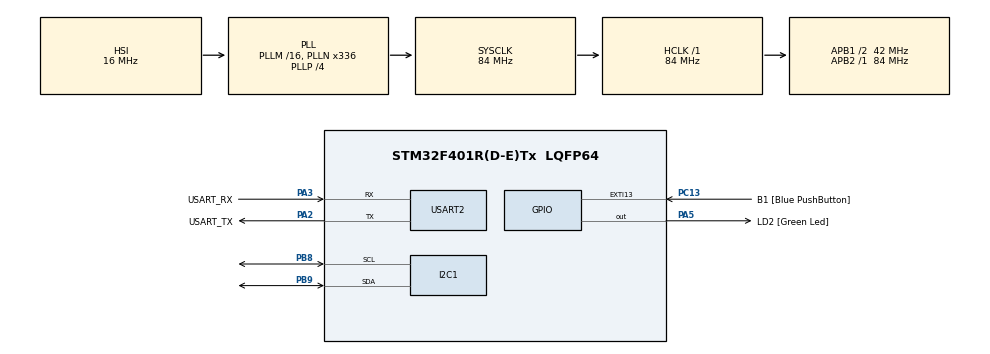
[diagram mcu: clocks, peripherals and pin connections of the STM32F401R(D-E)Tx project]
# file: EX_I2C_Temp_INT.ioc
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Mcu.Family=STM32F4
Mcu.Name=STM32F401R(D-E)Tx
Mcu.Package=LQFP64
NVIC.PriorityGroup=NVIC_PRIORITYGROUP_0
NVIC.TIM2_IRQn=true\:0\:0\:false\:false\:true\:true\:true
PA13.GPIO_Label=TMS
PA13.Mode=Serial_Wire
PA13.Signal=SYS_JTMS-SWDIO
PA14.GPIO_Label=TCK
PA14.Mode=Serial_Wire
PA14.Signal=SYS_JTCK-SWCLK
PA2.GPIO_Label=USART_TX
PA2.GPIO_Mode=GPIO_MODE_AF_PP
PA2.GPIO_PuPd=GPIO_NOPULL
PA2.GPIO_Speed=GPIO_SPEED_FREQ_LOW
PA2.Mode=Asynchronous
PA2.Signal=USART2_TX
PA3.GPIO_Label=USART_RX
PA3.GPIO_Mode=GPIO_MODE_AF_PP
PA3.GPIO_PuPd=GPIO_NOPULL
PA3.GPIO_Speed=GPIO_SPEED_FREQ_LOW
PA3.Mode=Asynchronous
PA3.Signal=USART2_RX
PA5.GPIO_Label=LD2 [Green Led]
PA5.GPIO_Mode=GPIO_MODE_OUTPUT_PP
PA5.GPIO_PuPd=GPIO_NOPULL
PA5.GPIO_Speed=GPIO_SPEED_FREQ_LOW
PA5.Signal=GPIO_Output
PB3.GPIO_Label=SWO
PB3.Signal=SYS_JTDO-SWO
PB8.Mode=I2C
PB8.Signal=I2C1_SCL
PB9.Mode=I2C
PB9.Signal=I2C1_SDA
PC13-ANTI_TAMP.GPIO_Label=B1 [Blue PushButton]
PC13-ANTI_TAMP.GPIO_ModeDefaultEXTI=GPIO_MODE_IT_FALLING
PC13-ANTI_TAMP.GPIO_PuPd=GPIO_NOPULL
PC13-ANTI_TAMP.Signal=GPXTI13
PC14-OSC32_IN.Mode=LSE-External-Oscillator
PC14-OSC32_IN.Signal=RCC_OSC32_IN
PC15-OSC32_OUT.Mode=LSE-External-Oscillator
PC15-OSC32_OUT.Signal=RCC_OSC32_OUT
PH0\ -\ OSC_IN.Mode=HSE-External-Clock-Source
PH0\ -\ OSC_IN.Signal=RCC_OSC_IN
PH1\ -\ OSC_OUT.Mode=HSE-External-Clock-Source
PH1\ -\ OSC_OUT.Signal=RCC_OSC_OUT
ProjectManager.HeapSize=0x200
ProjectManager.StackSize=0x400
ProjectManager.TargetToolchain=STM32CubeIDE
RCC.48MHZClocksFreq_Value=48000000
RCC.AHBFreq_Value=84000000
RCC.APB1CLKDivider=RCC_HCLK_DIV2
RCC.APB1Freq_Value=42000000
RCC.APB1TimFreq_Value=84000000
RCC.APB2Freq_Value=84000000
RCC.APB2TimFreq_Value=84000000
RCC.CortexFreq_Value=84000000
RCC.HCLKFreq_Value=84000000
RCC.HSE_VALUE=8000000
RCC.HSI_VALUE=16000000
RCC.PLLN=336
RCC.PLLP=RCC_PLLP_DIV4
RCC.PLLQ=7
RCC.SYSCLKFreq_VALUE=84000000
RCC.SYSCLKSource=RCC_SYSCLKSOURCE_PLLCLK
RCC.VCOOutputFreq_Value=336000000
TIM2.Period=10000-1
TIM2.Prescaler=8400-1
USART2.VirtualMode=VM_ASYNC
VP_TIM2_VS_ClockSourceINT.Mode=Internal
board=NUCLEO-F401RE

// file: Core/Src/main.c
/* USER CODE BEGIN Header */
/**
  ******************************************************************************
  * @file           : main.c
  * @brief          : Main program body
  ******************************************************************************
  * @attention
  *
  * Copyright (c) 2022 STMicroelectronics.
  * All rights reserved.
  *
  * This software is licensed under terms that can be found in the LICENSE file
  * in the root directory of this software component.
  * If no LICENSE file comes with this software, it is provided AS-IS.
  *
  ******************************************************************************
  */
/* USER CODE END Header */
#include "main.h"

I2C_HandleTypeDef hi2c1;

TIM_HandleTypeDef htim2;

UART_HandleTypeDef huart2;

void SystemClock_Config(void);
static void MX_GPIO_Init(void);
static void MX_USART2_UART_Init(void);
static void MX_I2C1_Init(void);
static void MX_TIM2_Init(void);

/* USER CODE BEGIN 0 */
#define TEMP_ADDRESS 00000000

#define LM_ADDRESS 0b10010000

void HAL_TIM_PeriodElapsedCallback(TIM_HandleTypeDef *htim)
{
	uint8_t reading[2];
	uint16_t final_value;
	float result;
	char string[64];
	if(htim == &htim2 )
	{
		//receive every tot second from the register
		if(HAL_I2C_Master_Receive(&hi2c1, LM_ADDRESS, &reading, 1, 10)==HAL_OK)
		{

			final_value = reading[0]; //sum the MSByte
			final_value = final_value << 8; //shift to the left of 8 bits
			final_value += reading[1]; //sum the LSByte, now all 16 bit correspond to the register
			final_value = final_value >> 5; //shift to the right to eliminate the padding

			//final_value = 0b11111111111; negative temperature check
			if(final_value < 2024)
				result = final_value * 0.125;
			else{
				final_value = !final_value;
				result = (final_value + 1)*(-0.125);
			}
			int length= snprintf(string,sizeof(string),"Temperature: %.3f °C\r\n", result);
			HAL_UART_Transmit(&huart2, string,length,200);
		}

	}
}
/* USER CODE END 0 */

int main(void)
{

  /* MCU Configuration--------------------------------------------------------*/

  /* Reset of all peripherals, Initializes the Flash interface and the Systick. */
  HAL_Init();

  /* Configure the system clock */
  SystemClock_Config();

  /* Initialize all configured peripherals */
  MX_GPIO_Init();
  MX_USART2_UART_Init();
  MX_I2C1_Init();
  MX_TIM2_Init();
  /* USER CODE BEGIN 2 */
  HAL_TIM_Base_Start_IT(&htim2);

  //Write (LSB = 0) the temp sensor, selecting the temp register
  HAL_I2C_Master_Transmit(&hi2c1, LM_ADDRESS, TEMP_ADDRESS, 1, 10);

  /* USER CODE END 2 */

  /* Infinite loop */
  while (1)
  {

  }
}

void SystemClock_Config(void)
{
  RCC_OscInitTypeDef RCC_OscInitStruct = {0};
  RCC_ClkInitTypeDef RCC_ClkInitStruct = {0};

  /** Configure the main internal regulator output voltage
  */
  __HAL_RCC_PWR_CLK_ENABLE();
  __HAL_PWR_VOLTAGESCALING_CONFIG(PWR_REGULATOR_VOLTAGE_SCALE2);
  /** Initializes the RCC Oscillators according to the specified parameters
  * in the RCC_OscInitTypeDef structure.
  */
  RCC_OscInitStruct.OscillatorType = RCC_OSCILLATORTYPE_HSI;
  RCC_OscInitStruct.HSIState = RCC_HSI_ON;
  RCC_OscInitStruct.HSICalibrationValue = RCC_HSICALIBRATION_DEFAULT;
  RCC_OscInitStruct.PLL.PLLState = RCC_PLL_ON;
  RCC_OscInitStruct.PLL.PLLSource = RCC_PLLSOURCE_HSI;
  RCC_OscInitStruct.PLL.PLLM = 16;
  RCC_OscInitStruct.PLL.PLLN = 336;
  RCC_OscInitStruct.PLL.PLLP = RCC_PLLP_DIV4;
  RCC_OscInitStruct.PLL.PLLQ = 7;
  if (HAL_RCC_OscConfig(&RCC_OscInitStruct) != HAL_OK)
  {
    Error_Handler();
  }
  /** Initializes the CPU, AHB and APB buses clocks
  */
  RCC_ClkInitStruct.ClockType = RCC_CLOCKTYPE_HCLK|RCC_CLOCKTYPE_SYSCLK
                              |RCC_CLOCKTYPE_PCLK1|RCC_CLOCKTYPE_PCLK2;
  RCC_ClkInitStruct.SYSCLKSource = RCC_SYSCLKSOURCE_PLLCLK;
  RCC_ClkInitStruct.AHBCLKDivider = RCC_SYSCLK_DIV1;
  RCC_ClkInitStruct.APB1CLKDivider = RCC_HCLK_DIV2;
  RCC_ClkInitStruct.APB2CLKDivider = RCC_HCLK_DIV1;

  if (HAL_RCC_ClockConfig(&RCC_ClkInitStruct, FLASH_LATENCY_2) != HAL_OK)
  {
    Error_Handler();
  }
}

static void MX_I2C1_Init(void)
{

  hi2c1.Instance = I2C1;
  hi2c1.Init.ClockSpeed = 100000;
  hi2c1.Init.DutyCycle = I2C_DUTYCYCLE_2;
  hi2c1.Init.OwnAddress1 = 0;
  hi2c1.Init.AddressingMode = I2C_ADDRESSINGMODE_7BIT;
  hi2c1.Init.DualAddressMode = I2C_DUALADDRESS_DISABLE;
  hi2c1.Init.OwnAddress2 = 0;
  hi2c1.Init.GeneralCallMode = I2C_GENERALCALL_DISABLE;
  hi2c1.Init.NoStretchMode = I2C_NOSTRETCH_DISABLE;
  if (HAL_I2C_Init(&hi2c1) != HAL_OK)
  {
    Error_Handler();
  }

}

static void MX_TIM2_Init(void)
{

  TIM_ClockConfigTypeDef sClockSourceConfig = {0};
  TIM_MasterConfigTypeDef sMasterConfig = {0};

  htim2.Instance = TIM2;
  htim2.Init.Prescaler = 8400-1;
  htim2.Init.CounterMode = TIM_COUNTERMODE_UP;
  htim2.Init.Period = 10000-1;
  htim2.Init.ClockDivision = TIM_CLOCKDIVISION_DIV1;
  htim2.Init.AutoReloadPreload = TIM_AUTORELOAD_PRELOAD_DISABLE;
  if (HAL_TIM_Base_Init(&htim2) != HAL_OK)
  {
    Error_Handler();
  }
  sClockSourceConfig.ClockSource = TIM_CLOCKSOURCE_INTERNAL;
  if (HAL_TIM_ConfigClockSource(&htim2, &sClockSourceConfig) != HAL_OK)
  {
    Error_Handler();
  }
  sMasterConfig.MasterOutputTrigger = TIM_TRGO_RESET;
  sMasterConfig.MasterSlaveMode = TIM_MASTERSLAVEMODE_DISABLE;
  if (HAL_TIMEx_MasterConfigSynchronization(&htim2, &sMasterConfig) != HAL_OK)
  {
    Error_Handler();
  }

}

static void MX_USART2_UART_Init(void)
{

  huart2.Instance = USART2;
  huart2.Init.BaudRate = 115200;
  huart2.Init.WordLength = UART_WORDLENGTH_8B;
  huart2.Init.StopBits = UART_STOPBITS_1;
  huart2.Init.Parity = UART_PARITY_NONE;
  huart2.Init.Mode = UART_MODE_TX_RX;
  huart2.Init.HwFlowCtl = UART_HWCONTROL_NONE;
  huart2.Init.OverSampling = UART_OVERSAMPLING_16;
  if (HAL_UART_Init(&huart2) != HAL_OK)
  {
    Error_Handler();
  }

}

static void MX_GPIO_Init(void)
{
  GPIO_InitTypeDef GPIO_InitStruct = {0};

  /* GPIO Ports Clock Enable */
  __HAL_RCC_GPIOC_CLK_ENABLE();
  __HAL_RCC_GPIOH_CLK_ENABLE();
  __HAL_RCC_GPIOA_CLK_ENABLE();
  __HAL_RCC_GPIOB_CLK_ENABLE();

  /*Configure GPIO pin Output Level */
  HAL_GPIO_WritePin(LD2_GPIO_Port, LD2_Pin, GPIO_PIN_RESET);

  /*Configure GPIO pin : B1_Pin */
  GPIO_InitStruct.Pin = B1_Pin;
  GPIO_InitStruct.Mode = GPIO_MODE_IT_FALLING;
  GPIO_InitStruct.Pull = GPIO_NOPULL;
  HAL_GPIO_Init(B1_GPIO_Port, &GPIO_InitStruct);

  /*Configure GPIO pin : LD2_Pin */
  GPIO_InitStruct.Pin = LD2_Pin;
  GPIO_InitStruct.Mode = GPIO_MODE_OUTPUT_PP;
  GPIO_InitStruct.Pull = GPIO_NOPULL;
  GPIO_InitStruct.Speed = GPIO_SPEED_FREQ_LOW;
  HAL_GPIO_Init(LD2_GPIO_Port, &GPIO_InitStruct);

}

void Error_Handler(void)
{
  __disable_irq();
  while (1)
  {
  }
}
